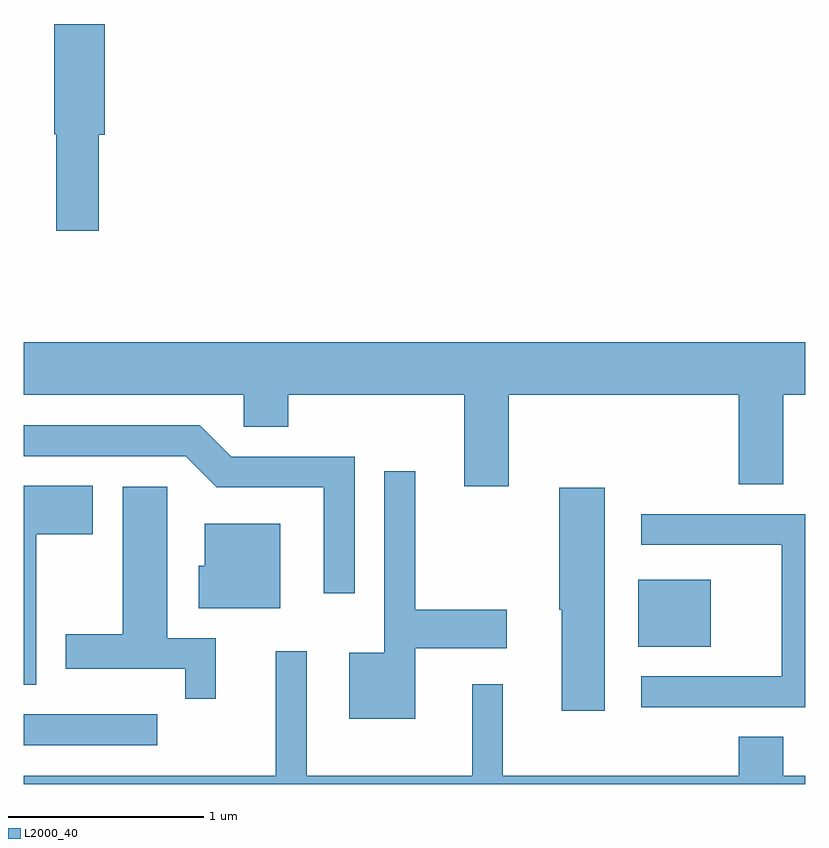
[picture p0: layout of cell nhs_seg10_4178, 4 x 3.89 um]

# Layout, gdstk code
import gdstk
lib = gdstk.Library(unit=1e-6, precision=1e-09)
def R(c, l, rs):  # rectangles x0, y0, x1, y1
    for r in rs: c.add(gdstk.rectangle(r[:2], r[2:], *l))
def P(c, l, *ps):  # polygons
    for p in ps: c.add(gdstk.Polygon(p, *l))
L2000_40 = (2000, 40)

nhs_seg10_4178 = lib.new_cell('nhs_seg10_4178')
R(nhs_seg10_4178, L2000_40, [(307.611,2178.721,308.293,2178.879), (310.756,2179.226,311.129,2179.569)])
P(nhs_seg10_4178, L2000_40, [(307.994,2181.846),(308.024,2181.846),(308.024,2182.414),(307.766,2182.414),(307.766,2181.85),(307.776,2181.85),(307.776,2181.356),(307.994,2181.356)],
  [(310.094,2180.516),(311.271,2180.516),(311.271,2180.056),(311.499,2180.056),(311.499,2180.516),(311.611,2180.516),(311.611,2180.784),(307.611,2180.784),(307.611,2180.516),(308.736,2180.516),(308.736,2180.351),(308.964,2180.351),(308.964,2180.516),(309.866,2180.516),(309.866,2180.046),(310.094,2180.046)],
  [(309.304,2180.199),(308.672,2180.199),(308.512,2180.359),(307.611,2180.359),(307.611,2180.201),(308.439,2180.201),(308.599,2180.041),(309.146,2180.041),(309.146,2179.498),(309.304,2179.498)],
  [(309.614,2179.216),(310.084,2179.216),(310.084,2179.414),(309.614,2179.414),(309.614,2180.123),(309.456,2180.123),(309.456,2179.194),(309.276,2179.194),(309.276,2178.856),(309.614,2178.856)],
  [(307.674,2179.801),(307.964,2179.801),(307.964,2180.049),(307.611,2180.049),(307.611,2179.031),(307.674,2179.031)],
  [(308.594,2179.269),(308.344,2179.269),(308.344,2180.044),(308.116,2180.044),(308.116,2179.289),(307.826,2179.289),(307.826,2179.111),(308.436,2179.111),(308.436,2178.958),(308.594,2178.958)],
  [(310.584,2180.039),(310.351,2180.039),(310.351,2179.415),(310.366,2179.415),(310.366,2178.896),(310.584,2178.896)],
  [(311.611,2179.904),(310.773,2179.904),(310.773,2179.746),(311.491,2179.746),(311.491,2179.074),(310.773,2179.074),(310.773,2178.916),(311.611,2178.916)],
  [(308.924,2179.854),(308.536,2179.854),(308.536,2179.639),(308.506,2179.639),(308.506,2179.421),(308.924,2179.421)],
  [(311.611,2178.564),(311.499,2178.564),(311.499,2178.764),(311.271,2178.764),(311.271,2178.564),(310.064,2178.564),(310.064,2179.033),(309.906,2179.033),(309.906,2178.564),(309.059,2178.564),(309.059,2179.203),(308.901,2179.203),(308.901,2178.564),(307.611,2178.564),(307.611,2178.522),(311.611,2178.522)])

lib.write_gds('nhs_seg10_4178.gds')
